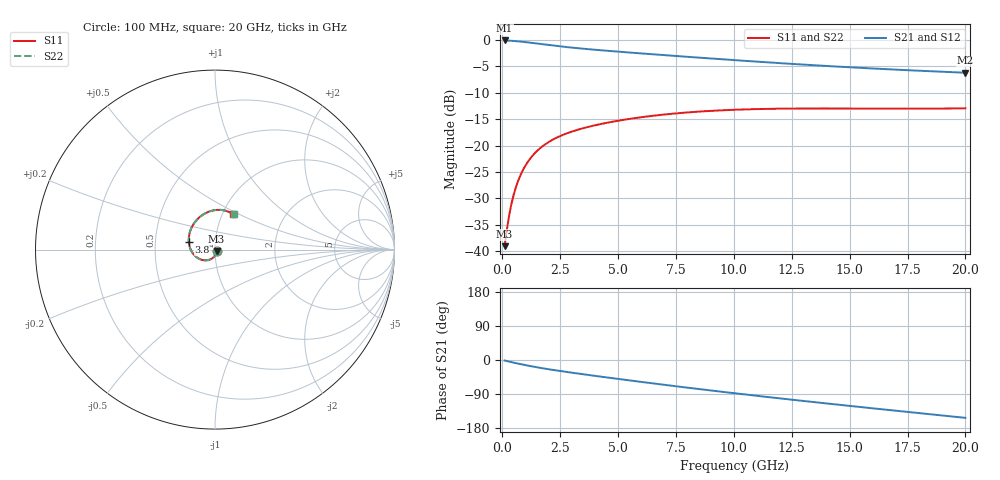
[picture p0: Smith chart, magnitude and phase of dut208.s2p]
! Touchstone file exported from HFSS 2023.1.0
!  File:  D:/Users/fzz/RDL_TSV/temp_RDL_TSV_208_1778756889.aedt
!  Generated:  7:16:40 %x4E0B%x5348  5%x6708 14, 2026
!  Design:  RDL_TSV
!  Project:  temp_RDL_TSV_208_1778756889
!  Setup:  Setup1
!  Solution:  Sweep
! Variables:
!  dtsv = 16.47um
!  hbump = 3um
!  htsv = 65.18um
!  ldown = 158.21um
!  lrdl = 357.11um
!  p = 40
!  p1 = 40.15um
!  rhole = 10um
!  subl = 1903.07um
!  t = 450um
!  tdown = 3.73um
!  trdl = 3.62um
!  viad = 10um
!  wdown = 25.46um
!  wrdl = 21.1um
!  xbump = 18um
# GHz S MA R 50.000000
! Terminal data exported
! Port[1] = TM1_1_T1
! Port[2] = TM1_4_T1
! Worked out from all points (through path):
!   200 points, 100 MHz to 20 GHz, reference 50 ohm
!   highest |S21| = -0.08 dB at 100 MHz (marker M1); lowest = -6.2 dB at 20 GHz (marker M2)
!   group delay of S21, straight-line fit = 20.2 ps
!   lowest |S11| = -39.1 dB at 100 MHz (marker M3), VSWR 1.02, Z = 50.9 - j0.701 ohm
!   |S11| at or under -10 dB: start of sweep to end of sweep
!   |S22| runs from -39.1 to -12.9 dB; largest |S21 - S12| = 5.3e-14
!   S11 on the Smith chart (normalised r, x): 100 MHz: 1.02, -0.01; 3.8 GHz: 0.74, +0.06; 20 GHz: 1.12, +0.47
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0.1  0.01111 -38.3  0.9904 -1.5  0.9904 -1.5  0.01111 -38.3
! Gamma 0 0 0 0
! Port Impedance 50 0 50 0
0.2  0.01601 -61.0  0.9886 -2.9  0.9886 -2.9  0.01601 -61.0
0.3  0.02197 -74.7  0.986 -4.4  0.986 -4.4  0.02197 -74.7
0.4  0.0283 -84.3  0.9829 -5.7  0.9829 -5.7  0.0283 -84.3
0.5  0.0347 -92.0  0.9792 -7.1  0.9792 -7.1  0.03469 -92.0
0.6  0.04102 -98.6  0.9751 -8.5  0.9751 -8.5  0.04102 -98.6
0.8  0.05319 -109.6  0.9657 -11.1  0.9657 -11.1  0.05319 -109.6
1.1  0.06984 -123.3  0.9492 -14.8  0.9492 -14.8  0.06984 -123.3
1.5  0.08879 -138.6  0.9254 -19.3  0.9254 -19.3  0.0888 -138.6
2  0.1078 -154.7  0.8964 -24.4  0.8964 -24.4  0.1078 -154.7
2.7  0.1282 -173.2  0.8607 -30.8  0.8607 -30.8  0.1282 -173.2
3.5  0.146 169.5  0.8269 -37.7  0.8269 -37.7  0.1461 169.4
3.8  0.1518 163.8  0.8156 -40.2  0.8156 -40.2  0.1519 163.7
5.3  0.176 139.7  0.7666 -52.3  0.7666 -52.3  0.1762 139.7
6.8  0.1946 121.1  0.7241 -64.0  0.7241 -64.0  0.1949 121.0
8.4  0.209 105.4  0.6829 -76.0  0.6829 -76.0  0.2093 105.3
10.1  0.2185 92.3  0.643 -88.2  0.643 -88.2  0.2189 92.3
11.7  0.223 82.8  0.6093 -99.3  0.6093 -99.3  0.2235 82.7
13.4  0.2243 75.1  0.5776 -110.7  0.5776 -110.7  0.2249 75.0
15  0.2238 69.9  0.5516 -121.1  0.5516 -121.1  0.2244 69.8
16.7  0.2229 66.2  0.5276 -132.0  0.5276 -132.0  0.2235 66.0
20  0.2255 62.8  0.4899 -152.7  0.4899 -152.7  0.226 62.6
